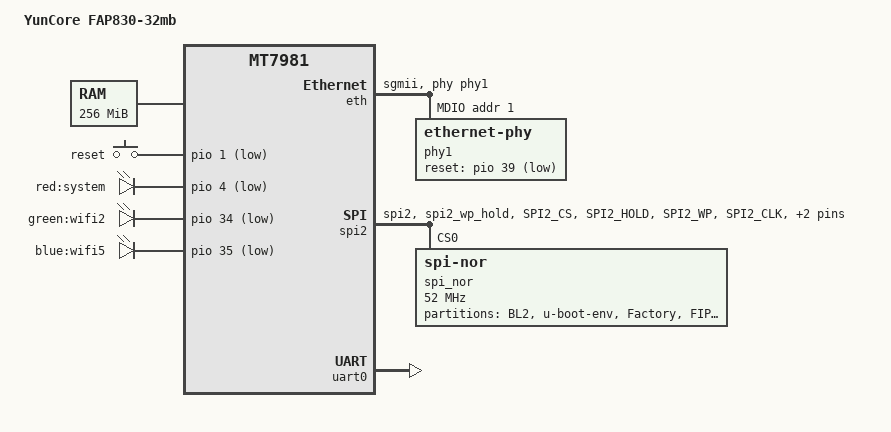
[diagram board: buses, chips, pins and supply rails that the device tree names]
// SPDX-License-Identifier: GPL-2.0-or-later

/dts-v1/;
#include "mt7981.dtsi"
#include <dt-bindings/gpio/gpio.h>
#include <dt-bindings/input/linux-event-codes.h>

/ {
  #address-cells = <1>;
  #size-cells = <1>;
  model = "YunCore FAP830-32mb";
  compatible = "yuncore,fap830-32mb", "mediatek,mt7981";

  chosen {
    stdout-path = &uart0;
    tick-timer = &timer0;
  };

  memory@40000000 {
    device_type = "memory";
    reg = <0x40000000 0x10000000>;
  };

  gpio-keys {
    compatible = "gpio-keys";

    reset {
      label = "reset";
      linux,code = <KEY_RESTART>;
      gpios = <&pio 1 GPIO_ACTIVE_LOW>;
    };
  };

  gpio-leds {
    compatible = "gpio-leds";

    led_system {
      label = "red:system";
      gpios = <&pio 4 GPIO_ACTIVE_LOW>;
      default-state = "on";
    };

    led_wifi24 {
      label = "green:wifi2";
      gpios = <&pio 34 GPIO_ACTIVE_LOW>;
      default-state = "off";
    };

    led_wifi5 {
      label = "blue:wifi5";
      gpios = <&pio 35 GPIO_ACTIVE_LOW>;
      default-state = "off";
    };
  };
};

&eth {
  status = "okay";
  mediatek,gmac-id = <0>;
  phy-mode = "sgmii";
  phy-handle = <&phy1>;

  mdio {
    phy1: ethernet-phy@1 {
      reg = <1>;
      reset-gpios = <&pio 39 GPIO_ACTIVE_LOW>;
    };
  };
};

&pio {
  spi0_flash_pins: spi0-pins-func-1 {
    mux {
      function = "flash";
      groups = "spi0", "spi0_wp_hold";
    };
  };

  spi2_flash_pins: spi2-pins {
    mux {
      function = "spi";
      groups = "spi2", "spi2_wp_hold";
    };

    conf-pu {
      pins = "SPI2_CS", "SPI2_HOLD", "SPI2_WP";
      drive-strength = <MTK_DRIVE_8mA>;
      bias-pull-up = <MTK_PUPD_SET_R1R0_11>;
    };

    conf-pd {
      pins = "SPI2_CLK", "SPI2_MOSI", "SPI2_MISO";
      drive-strength = <MTK_DRIVE_8mA>;
      bias-pull-down = <MTK_PUPD_SET_R1R0_11>;
    };
  };
};

&spi0 {
  pinctrl-names = "default";
  pinctrl-0 = <&spi0_flash_pins>;
  status = "disabled";
};

&spi2 {
  #address-cells = <1>;
  #size-cells = <0>;
  pinctrl-names = "default";
  pinctrl-0 = <&spi2_flash_pins>;
  status = "okay";
  must_tx;
  enhance_timing;
  dma_ext;
  ipm_design;
  support_quad;
  tick_dly = <2>;
  sample_sel = <0>;

  spi_nor@0 {
    compatible = "jedec,spi-nor";
    reg = <0>;
    spi-max-frequency = <52000000>;
    spi-rx-bus-width = <4>;
    spi-tx-bus-width = <4>;

    partitions {
      compatible = "fixed-partitions";
      #address-cells = <1>;
      #size-cells = <1>;

      partition@0 {
        label = "BL2";
        reg = <0x00000 0x0040000>;
      };

      partition@40000 {
        label = "u-boot-env";
        reg = <0x40000 0x0010000>;
      };

      partition@50000 {
        label = "Factory";
        reg = <0x50000 0x0010000>;
      };

      partition@60000 {
        label = "FIP";
        reg = <0x60000 0x0080000>;
      };

      partition@e0000 {
        label = "firmware";
        reg = <0xe0000 0x1f10000>;
      };
    };
  };
};

&uart0 {
  mediatek,force-highspeed;
  status = "okay";
};

&watchdog {
  status = "disabled";
};
